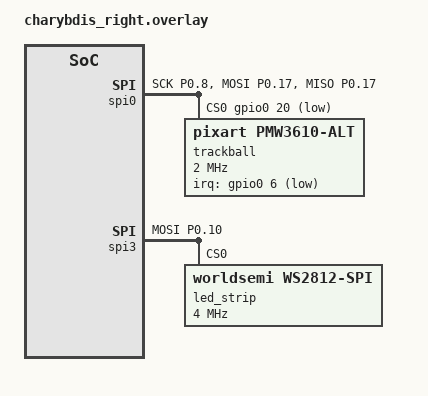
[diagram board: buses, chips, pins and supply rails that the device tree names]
/*
 * Copyright (c) 2020 ZMK Contributors
 *
 * SPDX-License-Identifier: MIT
 */
#include "charybdis.dtsi"
#include <zephyr/dt-bindings/input/input-event-codes.h>
#include <dt-bindings/zmk/input_transform.h>

&default_transform {
    col-offset = <6>;
};

&kscan0 {
    col-gpios = <&gpio0 2 GPIO_ACTIVE_HIGH>,
                <&gpio0 29 GPIO_ACTIVE_HIGH>,
                <&gpio0 9 GPIO_ACTIVE_HIGH>,
                <&gpio1 0 GPIO_ACTIVE_HIGH>,
                <&gpio0 11 GPIO_ACTIVE_HIGH>,
                <&gpio1 4 GPIO_ACTIVE_HIGH>;
};

// trackball
&pinctrl {
    spi0_default: spi0_default {
        group1 {
            psels = <NRF_PSEL(SPIM_SCK, 0, 8)>,
                    <NRF_PSEL(SPIM_MOSI, 0, 17)>,
                    <NRF_PSEL(SPIM_MISO, 0, 17)>;
        };
    };
    spi0_sleep: spi0_sleep {
        group1 {
            psels = <NRF_PSEL(SPIM_SCK, 0, 8)>,
                    <NRF_PSEL(SPIM_MOSI, 0, 17)>,
                    <NRF_PSEL(SPIM_MISO, 0, 17)>;
            low-power-enable;
        };
    };
};

&spi0 {
    status = "okay";
    compatible = "nordic,nrf-spim";
    pinctrl-0 = <&spi0_default>;
    pinctrl-1 = <&spi0_sleep>;
    pinctrl-names = "default", "sleep";
    cs-gpios = <&gpio0 20 GPIO_ACTIVE_LOW>;

    trackball: trackball@0 {
        status = "okay";
        compatible = "pixart,pmw3610-alt";  // ← ИЗМЕНИЛ на -alt
        reg = <0>;
        spi-max-frequency = <2000000>;
        irq-gpios = <&gpio0 6 (GPIO_ACTIVE_LOW | GPIO_PULL_UP)>;  // ← 6 — стандарт для Charybdis right
        cpi = <600>;  // ← можно изменить на своё

        // ←←← ОБЯЗАТЕЛЬНЫЕ для badjeff-драйвера
        evt-type = <INPUT_EV_REL>;
        x-input-code = <INPUT_REL_X>;
        y-input-code = <INPUT_REL_Y>;

        force-awake;  

        swap-xy;      
        invert-x;
        invert-y;
    };
};


// RGB bus
&pinctrl {
    spi3_default: spi3_default {
        group1 {
            psels = <NRF_PSEL(SPIM_MOSI, 0, 10)>;
        };
    };
    spi3_sleep: spi3_sleep {
        group1 {
            psels = <NRF_PSEL(SPIM_MOSI, 0, 10)>;
            low-power-enable;
        };
    };
};

&spi3 {
    compatible = "nordic,nrf-spim";
    status = "okay";
    pinctrl-0 = <&spi3_default>;
    pinctrl-1 = <&spi3_sleep>;
    pinctrl-names = "default", "sleep";

    led_strip: ws2812@0 {
        compatible = "worldsemi,ws2812-spi";
        reg = <0>;
        spi-max-frequency = <4000000>;
        chain-length = <27>;
        spi-one-frame = <0x70>;
        spi-zero-frame = <0x40>;
        color-mapping = <LED_COLOR_ID_GREEN
                         LED_COLOR_ID_RED
                         LED_COLOR_ID_BLUE>;
    };
};

/ {
    // 1. Описываем процессоры ввода
    // Процессор для превращения движения Y в скролл (Wheel)
    ib_scroll_mapper: ib_scroll_mapper {
        compatible = "zmk,input-processor-code-mapper";
        #binding-cells = <0>;
        map {
            // Исходный код -> Целевой код
            <INPUT_REL_Y INPUT_REL_WHEEL>
            <INPUT_REL_X INPUT_REL_HWHEEL>
        };
    };

    // Процессор для масштабирования (чувствительности)
    ib_scroll_scaler: ib_scroll_scaler {
        compatible = "zmk,input-processor-scaler";
        #binding-cells = <2>; // Ожидает multiplier и divisor
        type = <INPUT_EV_REL>;
        codes = <INPUT_REL_WHEEL INPUT_REL_HWHEEL>;
    };

    // 2. Настраиваем листенер, который всё это объединяет
    trackball_listener {
        compatible = "zmk,input-listener";
        device = <&trackball>;

        // Слой 4 — это твой слой скролла
        // Процессоры выполняются по порядку сверху вниз
        scroller {
            layers = <4>;
            input-processors 
                = <&ib_scroll_mapper>
                , <&ib_scroll_scaler 1 15>; // Здесь задаем скорость (1 к 15)
        };
    };
};
